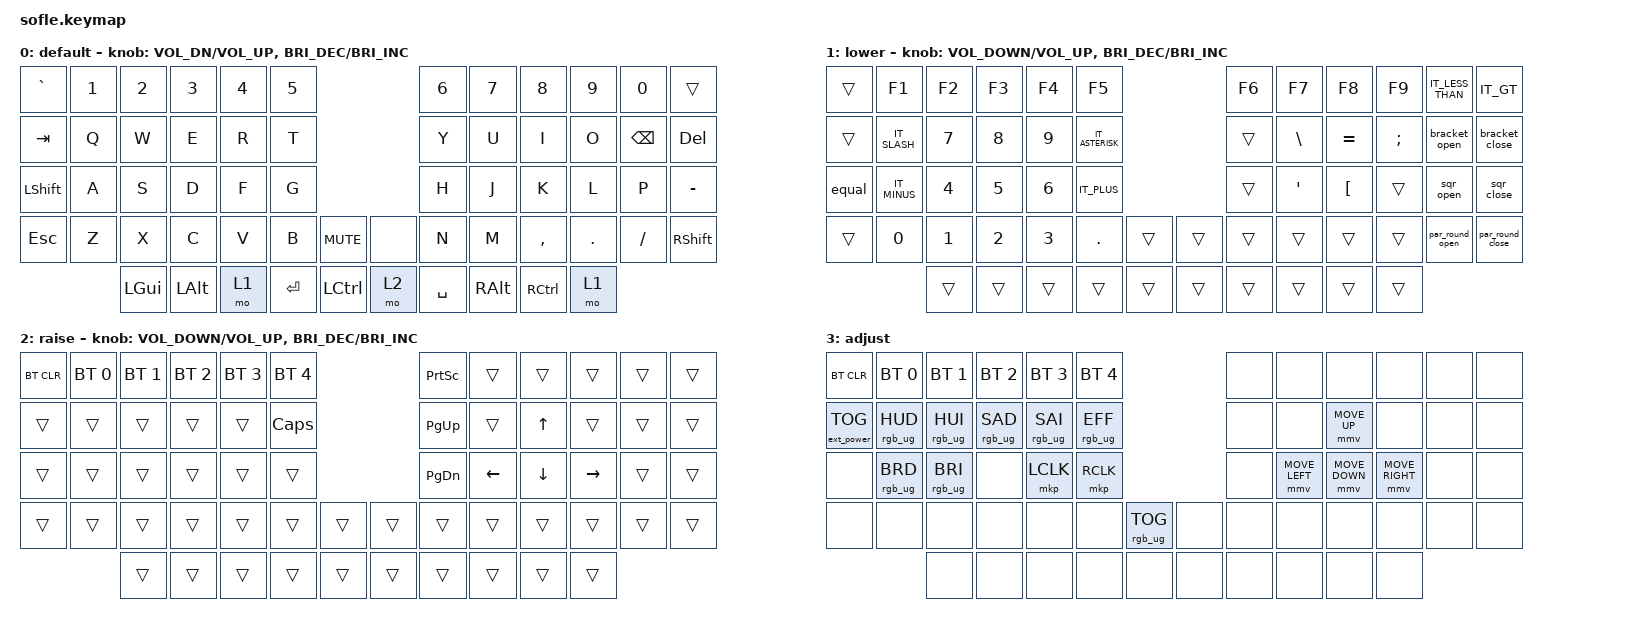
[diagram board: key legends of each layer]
/*
 * Copyright (c) 2020 The ZMK Contributors
 *
 * SPDX-License-Identifier: MIT
 */

#include "keys_it.h"

// Test mouse support

#include <behaviors.dtsi>
#include <dt-bindings/zmk/bt.h>
#include <dt-bindings/zmk/ext_power.h>
#include <dt-bindings/zmk/keys.h>
#include <dt-bindings/zmk/pointing.h>
#include <dt-bindings/zmk/rgb.h>

#define BASE 0
#define LOWER 1
#define RAISE 2
#define ADJUST 3

/ {
    // Activate ADJUST layer by pressing raise and lower

    conditional_layers {
        compatible = "zmk,conditional-layers";

        accented_latters {
            if-layers = <1 2>;
            then-layer = <3>;
        };
    };

    combos {
        compatible = "zmk,combos";

        shift_test {
            bindings = <&kp LEFT_SHIFT>;
            key-positions = <31 32 33>;
        };

        shift_test2 {
            bindings = <&kp LEFT_SHIFT>;
            key-positions = <28 27 26>;
        };

        rctrl_hrm {
            bindings = <&kp RCTRL>;
            key-positions = <31 32>;
        };
    };

    macros {
        par_round_open: us2it_open_par_round {
            compatible = "zmk,behavior-macro";
            #binding-cells = <0>;
            bindings = <&kp LS(N8)>;
            label = "US2IT_OPEN_PAR_ROUND";
        };

        par_round_close: us2it_ {
            compatible = "zmk,behavior-macro";
            #binding-cells = <0>;
            bindings = <&kp LS(N9)>;
            label = "US2IT_";
        };

        bracket_open: bracket_open {
            compatible = "zmk,behavior-macro";
            #binding-cells = <0>;
            bindings = <&kp LS(RA(LEFT_BRACKET))>;
            label = "BRACKET_OPEN";
        };

        bracket_close: bracket_close {
            compatible = "zmk,behavior-macro";
            #binding-cells = <0>;
            bindings = <&kp LS(RA(RIGHT_BRACKET))>;
            label = "BRACKET_CLOSE";
        };

        sqr_open: sqr_open {
            compatible = "zmk,behavior-macro";
            #binding-cells = <0>;
            bindings = <&kp RA(LEFT_BRACKET)>;
            label = "SQR_OPEN";
        };

        sqr_close: sqr_close {
            compatible = "zmk,behavior-macro";
            #binding-cells = <0>;
            bindings = <&kp RA(RIGHT_BRACKET)>;
            label = "SQR_CLOSE";
        };

        equal: equal {
            compatible = "zmk,behavior-macro";
            #binding-cells = <0>;
            bindings = <&kp RS(NUMBER_0)>;
            label = "EQUAL";
        };

        gthan: gthan {
            compatible = "zmk,behavior-macro";
            #binding-cells = <0>;
            bindings = <&kp LS(BACKSLASH)>;
            label = "GTHAN";
        };
    };

    keymap {
        compatible = "zmk,keymap";

        default_layer {
            display-name = "default";

            // ------------------------------------------------------------------------------------------------------------
            // |   `   |  1  |  2  |  3   |  4   |  5   |                   |  6   |  7    |  8    |  9   |   0   |       |
            // |  ESC  |  Q  |  W  |  E   |  R   |  T   |                   |  Y   |  U    |  I    |  O   |   P   | BKSPC |
            // |  TAB  |  A  |  S  |  D   |  F   |  G   |                   |  H   |  J    |  K    |  L   |   ;   |   '   |
            // | SHIFT |  Z  |  X  |  C   |  V   |  B   |  MUTE  |  |       |  N   |  M    |  ,    |  .   |   /   | SHIFT |
            //               | GUI | ALT  | CTRL | LOWER|  ENTER |  | SPACE | RAISE| CTRL  | ALT   | GUI  |

            bindings = <
&kp GRAVE       &kp N1  &kp N2    &kp N3    &kp N4  &kp N5                          &kp N6     &kp N7         &kp N8     &kp N9   &kp N0         &trans
&kp TAB         &kp Q   &kp W     &kp E     &kp R   &kp T                           &kp Y      &kp U          &kp I      &kp O    &kp BACKSPACE  &kp DELETE
&kp LEFT_SHIFT  &kp A   &kp S     &kp D     &kp F   &kp G                           &kp H      &kp J          &kp K      &kp L    &kp P          &kp MINUS
&kp ESC         &kp Z   &kp X     &kp C     &kp V   &kp B      &kp C_MUTE    &none  &kp N      &kp M          &kp COMMA  &kp DOT  &kp FSLH       &kp RSHFT
                        &kp LGUI  &kp LALT  &mo 1   &kp ENTER  &kp LCTRL     &mo 2  &kp SPACE  &kp RIGHT_ALT  &kp RCTRL  &mo 1
            >;

            sensor-bindings =
                <&inc_dec_kp C_VOL_DN C_VOL_UP>,
                <&inc_dec_kp C_BRIGHTNESS_DEC C_BRIGHTNESS_INC>;
        };

        lower_layer {
            display-name = "lower";

            // TODO: Some binds are waiting for shifted keycode support.
            // ------------------------------------------------------------------------------------------------------------
            // |       |  F1 |  F2 |  F3  |  F4  |  F5  |                   |  F6  |  F7   |  F8   |  F9  |  F10  |  F11  |
            // |   `   |  1  |  2  |  3   |  4   |  5   |                   |  6   |  7    |  8    |  9   |   0   |  F12  |
            // |       |  !  |  @  |  #   |  $   |  %   |                   |  ^   |  &    |  *    |  (   |   )   |   |   |
            // |       |  =  |  -  |  +   |  {   |  }   |        |  |       |  [   |  ]    |  ;    |  :   |   \   |       |
            //               |     |      |      |      |        |  |       |      |       |       |      |

            bindings = <
&trans  &kp F1        &kp F2        &kp F3        &kp F4        &kp F5                             &kp F6  &kp F7         &kp F8            &kp F9    &kp IT_LESS_THAN  &kp IT_GT
&trans  &kp IT_SLASH  &kp N7        &kp N8        &kp N9        &kp IT_ASTERISK                    &trans  &kp BACKSLASH  &kp EQUAL         &kp SEMI  &bracket_open     &bracket_close
&equal  &kp IT_MINUS  &kp NUMBER_4  &kp N5        &kp NUMBER_6  &kp IT_PLUS                        &trans  &kp SQT        &kp LEFT_BRACKET  &trans    &sqr_open         &sqr_close
&trans  &kp N0        &kp NUMBER_1  &kp NUMBER_2  &kp NUMBER_3  &kp PERIOD       &trans    &trans  &trans  &trans         &trans            &trans    &par_round_open   &par_round_close
                      &trans        &trans        &trans        &trans           &trans    &trans  &trans  &trans         &trans            &trans
            >;

            sensor-bindings =
                <&inc_dec_kp C_VOLUME_DOWN C_VOLUME_UP>,
                <&inc_dec_kp C_BRIGHTNESS_DEC C_BRIGHTNESS_INC>;
        };

        raise_layer {
            display-name = "raise";

            // ------------------------------------------------------------------------------------------------------------
            // | BTCLR | BT1  | BT2  |  BT3  |  BT4  |  BT5 |                |      |      |       |      |       |       |
            // |       | INS  | PSCR | GUI   |       |      |                | PGUP |      |   ^   |      |       |       |
            // |       | ALT  | CTRL | SHIFT |       | CAPS |                | PGDN |   <- |   v   |  ->  |  DEL  | BKSPC |
            // |       | UNDO | CUT  | COPY  | PASTE |      |      |  |      |      |      |       |      |       |       |
            //                |      |       |       |      |      |  |      |      |      |       |      |

            bindings = <
&bt BT_CLR  &bt BT_SEL 0  &bt BT_SEL 1  &bt BT_SEL 2  &bt BT_SEL 3  &bt BT_SEL 4                    &kp PRINTSCREEN  &trans    &trans    &trans     &trans  &trans
&trans      &trans        &trans        &trans        &trans        &kp CAPSLOCK                    &kp PG_UP        &trans    &kp UP    &trans     &trans  &trans
&trans      &trans        &trans        &trans        &trans        &trans                          &kp PG_DN        &kp LEFT  &kp DOWN  &kp RIGHT  &trans  &trans
&trans      &trans        &trans        &trans        &trans        &trans        &trans    &trans  &trans           &trans    &trans    &trans     &trans  &trans
                          &trans        &trans        &trans        &trans        &trans    &trans  &trans           &trans    &trans    &trans
            >;

            sensor-bindings =
                <&inc_dec_kp C_VOLUME_DOWN C_VOLUME_UP>,
                <&inc_dec_kp C_BRIGHTNESS_DEC C_BRIGHTNESS_INC>;
        };

        adjust_layer {
            // ----------------------------------------------------------------------------------------------------------------------------
            // | BTCLR  |  BT1    |  BT2    |   BT3   |   BT4   |   BT5   |                  |      |      |       |      |       |       |
            // | EXTPWR | RGB_HUD | RGB_HUI | RGB_SAD | RGB_SAI | RGB_EFF |                  |      |      |       |      |       |       |
            // |        | RGB_BRD | RGB_BRI |         |         |         |                  |      |      |       |      |       |       |
            // |        |         |         |         |         |         | RGB_TOG | |      |      |      |       |      |       |       |
            //                    |         |         |         |         |         | |      |      |      |       |      |

            display-name = "adjust";
            bindings = <
&bt BT_CLR         &bt BT_SEL 0     &bt BT_SEL 1     &bt BT_SEL 2     &bt BT_SEL 3     &bt BT_SEL 4                               &none  &none           &none           &none            &none  &none
&ext_power EP_TOG  &rgb_ug RGB_HUD  &rgb_ug RGB_HUI  &rgb_ug RGB_SAD  &rgb_ug RGB_SAI  &rgb_ug RGB_EFF                            &none  &none           &mmv MOVE_UP    &none            &none  &none
&none              &rgb_ug RGB_BRD  &rgb_ug RGB_BRI  &none            &mkp LCLK        &mkp RCLK                                  &none  &mmv MOVE_LEFT  &mmv MOVE_DOWN  &mmv MOVE_RIGHT  &none  &none
&none              &none            &none            &none            &none            &none            &rgb_ug RGB_TOG    &none  &none  &none           &none           &none            &none  &none
                                    &none            &none            &none            &none            &none              &none  &none  &none           &none           &none
            >;
        };
    };
};
